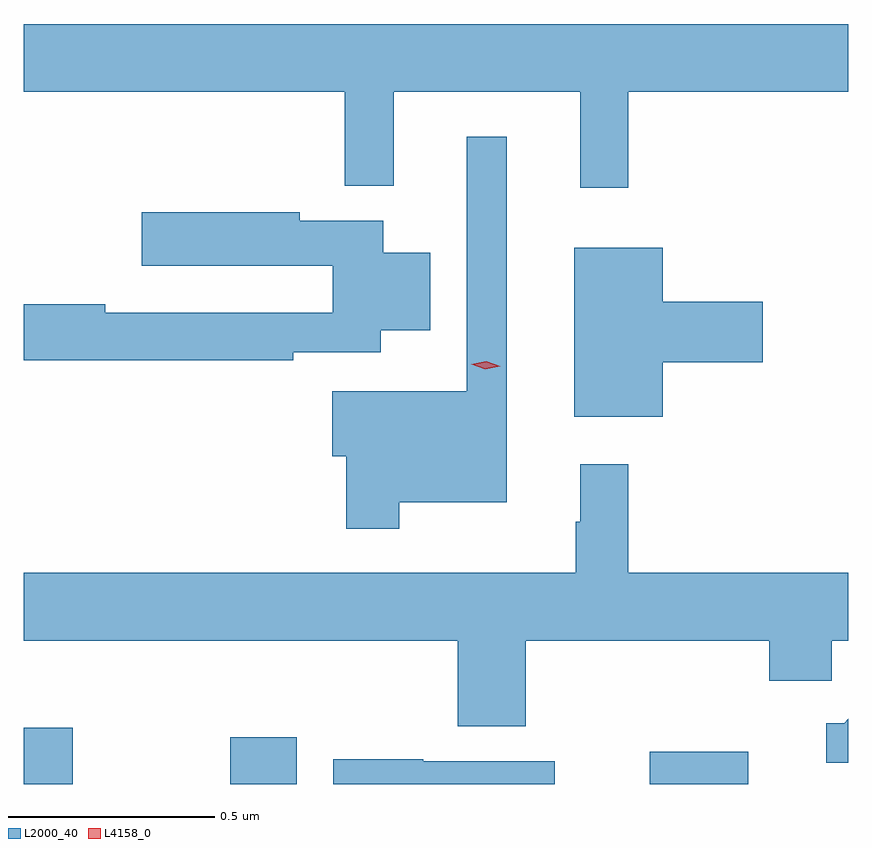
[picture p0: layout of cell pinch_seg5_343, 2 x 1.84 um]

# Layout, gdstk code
import gdstk
lib = gdstk.Library(unit=1e-6, precision=1e-09)
def R(c, l, rs):  # rectangles x0, y0, x1, y1
    for r in rs: c.add(gdstk.rectangle(r[:2], r[2:], *l))
def P(c, l, *ps):  # polygons
    for p in ps: c.add(gdstk.Polygon(p, *l))
L2000_40 = (2000, 40)
L4158_0 = (4158, 0)

pinch_seg5_343 = lib.new_cell('pinch_seg5_343')
R(pinch_seg5_343, L2000_40, [(911.192,884.384,911.311,884.52), (911.693,884.384,911.854,884.497), (912.711,884.384,912.95,884.462)])
P(pinch_seg5_343, L2000_40, [(912.659,886.064),(913.192,886.064),(913.192,886.228),(911.192,886.228),(911.192,886.064),(911.971,886.064),(911.971,885.836),(912.089,885.836),(912.089,886.064),(912.542,886.064),(912.542,885.831),(912.659,885.831)],
  [(912.103,885.068),(912.364,885.068),(912.364,885.955),(912.267,885.955),(912.267,885.337),(911.94,885.337),(911.94,885.179),(911.974,885.179),(911.974,885.003),(912.103,885.003)],
  [(911.846,885.432),(912.058,885.432),(912.058,885.485),(912.178,885.485),(912.178,885.673),(912.064,885.673),(912.064,885.751),(911.862,885.751),(911.862,885.771),(911.478,885.771),(911.478,885.641),(911.942,885.641),(911.942,885.528),(911.39,885.528),(911.39,885.548),(911.192,885.548),(911.192,885.412),(911.846,885.412)],
  [(912.742,885.407),(912.985,885.407),(912.985,885.554),(912.742,885.554),(912.742,885.685),(912.527,885.685),(912.527,885.275),(912.742,885.275)],
  [(912.41,884.732),(913.001,884.732),(913.001,884.634),(913.152,884.634),(913.152,884.732),(913.192,884.732),(913.192,884.896),(912.659,884.896),(912.659,885.16),(912.542,885.16),(912.542,885.02),(912.531,885.02),(912.531,884.896),(911.192,884.896),(911.192,884.732),(912.245,884.732),(912.245,884.524),(912.41,884.524)],
  [(913.192,884.542),(913.182,884.532),(913.139,884.532),(913.139,884.436),(913.192,884.436)],
  [(912.48,884.439),(912.161,884.439),(912.161,884.444),(911.943,884.444),(911.943,884.384),(912.48,884.384)])
P(pinch_seg5_343, L4158_0, [(912.312,885.39),(912.277,885.402),(912.277,885.402),(912.277,885.402),(912.314,885.41),(912.348,885.397),(912.348,885.397),(912.348,885.397)])

lib.write_gds('pinch_seg5_343.gds')
